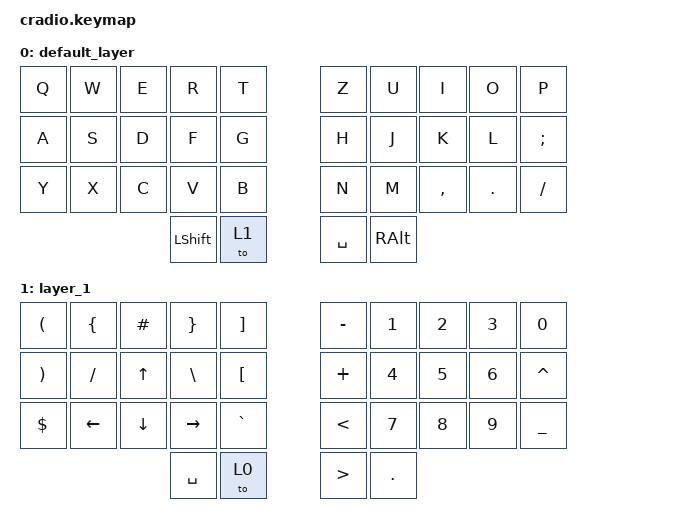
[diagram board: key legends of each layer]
#include <behaviors.dtsi>
#include <dt-bindings/zmk/keys.h>
#include "keys_de.h"

/ {
    keymap {
        compatible = "zmk,keymap";

        default_layer {
            bindings = <
&kp Q  &kp W  &kp E  &kp R           &kp T    &kp Z      &kp U     &kp I      &kp O    &kp P
&kp A  &kp S  &kp D  &kp F           &kp G    &kp H      &kp J     &kp K      &kp L    &kp SEMI
&kp Y  &kp X  &kp C  &kp V           &kp B    &kp N      &kp M     &kp COMMA  &kp DOT  &kp FSLH
                     &kp LEFT_SHIFT  &to 1    &kp SPACE  &kp RALT
            >;
        };

        layer_1 {
            bindings = <
&kp LEFT_PARENTHESIS   &kp LEFT_BRACE  &kp HASH      &kp RIGHT_BRACE  &kp RIGHT_BRACKET    &kp MINUS         &kp N1      &kp N2  &kp N3  &kp NUMBER_0
&kp RIGHT_PARENTHESIS  &kp SLASH       &kp UP_ARROW  &kp BSLH         &kp LEFT_BRACKET     &kp PLUS          &kp N4      &kp N5  &kp N6  &kp CARET
&kp DOLLAR             &kp LEFT_ARROW  &kp DOWN      &kp RIGHT        &kp GRAVE            &kp LESS_THAN     &kp N7      &kp N8  &kp N9  &kp UNDERSCORE
                                                     &kp SPACE        &to 0                &kp GREATER_THAN  &kp PERIOD
            >;
        };
    };
};
